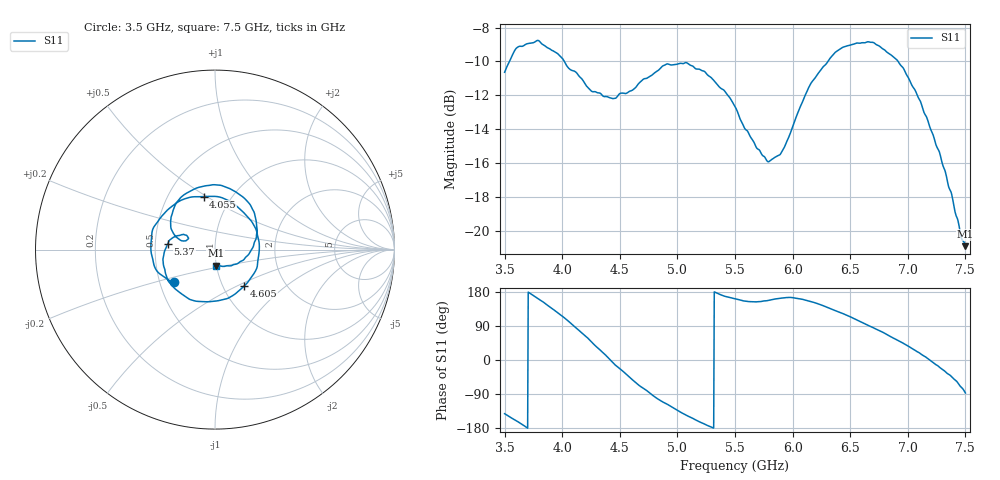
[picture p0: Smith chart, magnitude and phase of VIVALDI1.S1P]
!Agilent Technologies,E5071B,MY42403545,A.09.10
!Date: Thu Jul 11 04:51:31 2019
!Data & Calibration Information:
!Freq	S11:SOLT1(ON)
# Hz S dB R 50
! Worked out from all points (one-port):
!   801 points, 3.5 GHz to 7.5 GHz, reference 50 ohm
!   lowest |S11| = -20.9 dB at 7.5 GHz (marker M1), VSWR 1.20, Z = 49.7 - j9 ohm
!   |S11| at or under -10 dB: start of sweep to 3.542 GHz; 4.019 GHz to 6.306 GHz (2.288 GHz wide, 44.3 % of centre); 6.916 GHz to end of sweep
!   S11 on the Smith chart (normalised r, x): 3.5 GHz: 0.59, -0.24; 4.055 GHz: 0.75, +0.48; 4.605 GHz: 1.26, -0.54; 5.37 GHz: 0.58, +0.04; 7.5 GHz: 0.99, -0.18
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3.5e9  -10.64 -141.7
3.62e9  -9.13 -163.7
3.77e9  -8.81 166.1
3.895e9  -9.27 139.3
4e9  -9.81 115.8
4.055e9  -10.39 102.2
4.16e9  -10.96 74.3
4.295e9  -11.81 35.4
4.395e9  -12.09 7.2
4.5e9  -11.90 -22.8
4.605e9  -11.71 -51.0
4.795e9  -10.71 -95.4
4.9e9  -10.17 -114.8
5e9  -10.16 -132.9
5.195e9  -10.47 -163.7
5.37e9  -11.55 172.9
5.5e9  -12.66 161.7
5.79e9  -15.93 157.4
5.905e9  -15.34 163.4
6e9  -13.85 164.5
6.25e9  -10.45 145.0
6.5e9  -9.03 114.1
6.725e9  -9.00 81.5
6.875e9  -9.74 57.7
7e9  -10.91 37.5
7.115e9  -12.45 15.6
7.27e9  -15.28 -17.6
7.5e9  -20.92 -87.0
